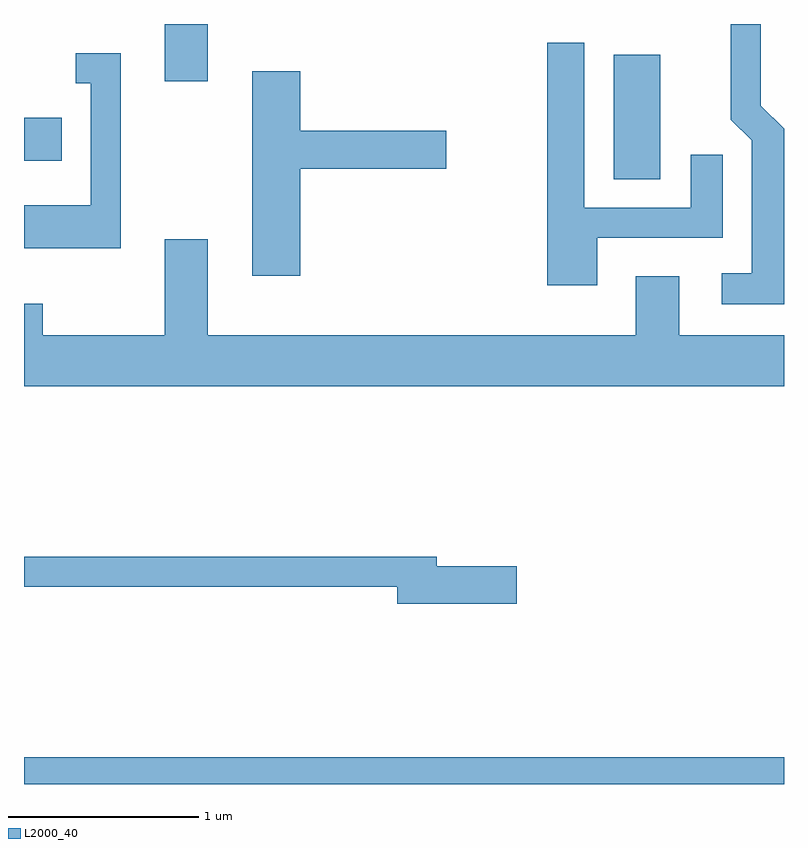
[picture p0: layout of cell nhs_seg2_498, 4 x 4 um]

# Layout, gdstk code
import gdstk
lib = gdstk.Library(unit=1e-6, precision=1e-09)
def R(c, l, rs):  # rectangles x0, y0, x1, y1
    for r in rs: c.add(gdstk.rectangle(r[:2], r[2:], *l))
def P(c, l, *ps):  # polygons
    for p in ps: c.add(gdstk.Polygon(p, *l))
L2000_40 = (2000, 40)

nhs_seg2_498 = lib.new_cell('nhs_seg2_498')
R(nhs_seg2_498, L2000_40, [(199.611,1021.802,203.611,1021.944), (202.716,1024.986,202.959,1025.639), (199.611,1025.081,199.809,1025.309), (200.351,1025.501,200.579,1025.802)])
P(nhs_seg2_498, L2000_40, [(203.611,1025.25),(203.489,1025.372),(203.489,1025.802),(203.331,1025.802),(203.331,1025.299),(203.441,1025.189),(203.441,1024.489),(203.283,1024.489),(203.283,1024.326),(203.611,1024.326)],
  [(202.629,1024.676),(203.289,1024.676),(203.289,1025.113),(203.121,1025.113),(203.121,1024.834),(202.559,1024.834),(202.559,1025.704),(202.366,1025.704),(202.366,1024.426),(202.629,1024.426)],
  [(200.119,1025.649),(199.883,1025.649),(199.883,1025.491),(199.961,1025.491),(199.961,1024.849),(199.611,1024.849),(199.611,1024.621),(200.119,1024.621)],
  [(201.064,1025.041),(201.834,1025.041),(201.834,1025.239),(201.064,1025.239),(201.064,1025.554),(200.811,1025.554),(200.811,1024.476),(201.064,1024.476)],
  [(203.611,1024.164),(203.059,1024.164),(203.059,1024.474),(202.831,1024.474),(202.831,1024.164),(200.579,1024.164),(200.579,1024.669),(200.351,1024.669),(200.351,1024.164),(199.709,1024.164),(199.709,1024.329),(199.611,1024.329),(199.611,1023.896),(203.611,1023.896)],
  [(202.204,1022.949),(201.784,1022.949),(201.784,1022.999),(199.611,1022.999),(199.611,1022.841),(201.576,1022.841),(201.576,1022.751),(202.204,1022.751)])

lib.write_gds('nhs_seg2_498.gds')
